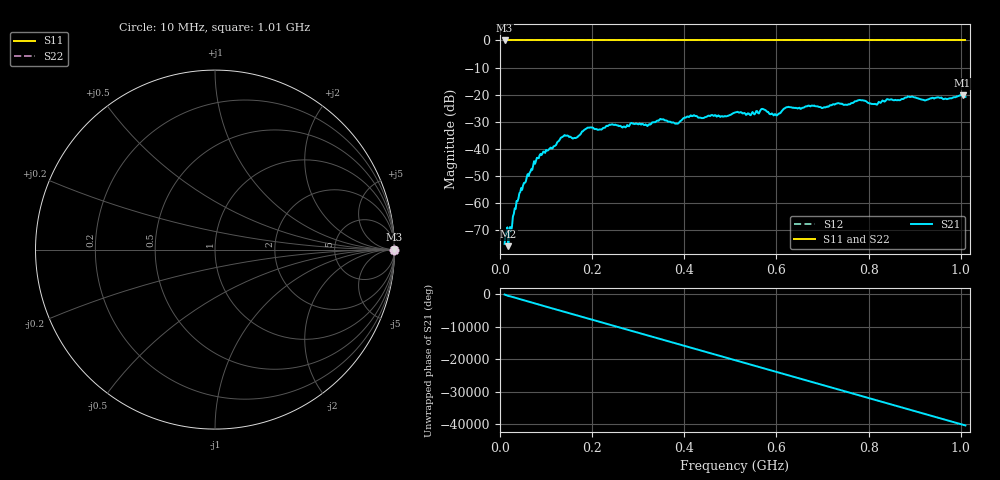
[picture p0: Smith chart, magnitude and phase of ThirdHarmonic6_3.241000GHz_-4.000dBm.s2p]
! 8/17/2025 9:56:51 AM
! C:\ANRITSUVNA\TEMP\TEMP.S2P
! CHANNEL.1
! TR.MEASUREMENT
! RAW.DATA
! RF.CORRECTION.OFF
! AVERAGING.OFF
! IF.BANDWIDTH: 5KHZ
! SWEEPTYPE:  FREQ.SWEEP(Linear)
! Reference Plane Port Info
! PORT:  PORT1  PORT2
! DISTANCE:  0  m  0  m
! TIME:  0  s  0  s
! PHASE.OFFSET:  0  deg.  0  deg.
! LOSS:  0  dB  0  dB
! REF.LOSS:  0  dB  0  dB
! REF.FREQ:  0  Hz  0  Hz
! Power Info
! POWER:  -20  dBm  -20  dBm
! EFF.POWER:  -20  dBm  -20  dBm
! SOURCE.ATTEN:  0  dB  0  dB
! TEST.ATTEN:  0  dB  0  dB
# GHZ S RI R 50.0
! FREQ.GHZ  S11RE  S11IM  S21RE  S21IM  S12RE  S12IM  S22RE  S22IM
!; PortSelection: Port_12
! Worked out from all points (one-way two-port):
!   501 points, 10 MHz to 1.01 GHz, reference 50 ohm
!   highest |S21| = -20.24 dB at 1.004 GHz (marker M1); lowest = -76.1 dB at 18 MHz (marker M2)
!   lowest |S11| = 0.0 dB at 10 MHz (marker M3)
!   |S11| at or under -10 dB: nowhere
!   |S22| runs from 0.0 to 0.0 dB; largest |S21 - S12| = 1.1
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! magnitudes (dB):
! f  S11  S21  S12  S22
! 10 MHz  0.0  -75.2  0.0  0.0
! 18 MHz  0.0  -76.1  0.0  0.0
! 22 MHz  0.0  -69.0  0.0  0.0
! 32 MHz  0.0  -62.1  0.0  0.0
! 42 MHz  0.0  -56.5  0.0  0.0
! 78 MHz  0.0  -44.6  0.0  0.0
! 136 MHz  0.0  -35.6  0.0  0.0
! 162 MHz  0.0  -36.0  0.0  0.0
! 178 MHz  0.0  -33.7  0.0  0.0
! 344 MHz  0.0  -29.7  0.0  0.0
! 384 MHz  0.0  -30.7  0.0  0.0
! 416 MHz  0.0  -27.9  0.0  0.0
! 510 MHz  0.0  -26.6  0.0  0.0
! 570 MHz  0.0  -25.3  0.0  0.0
! 598 MHz  0.0  -27.3  0.0  0.0
! 624 MHz  0.0  -24.7  0.0  0.0
! 678 MHz  0.0  -24.1  0.0  0.0
! 782 MHz  0.0  -22.0  0.0  0.0
! 814 MHz  0.0  -23.4  0.0  0.0
! 844 MHz  0.0  -21.9  0.0  0.0
! 1.004 GHz  0.0  -20.2  0.0  0.0
! 1.01 GHz  0.0  -20.9  0.0  0.0
